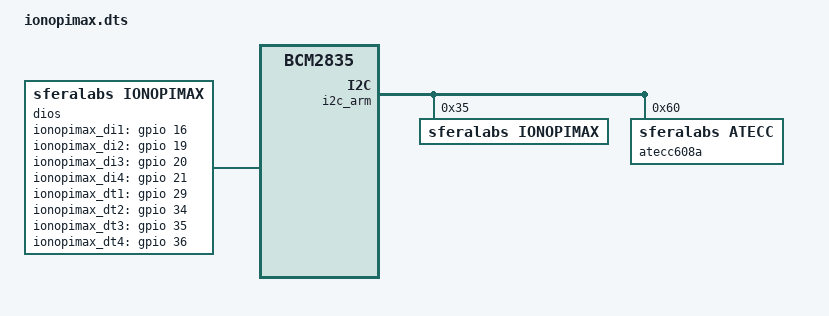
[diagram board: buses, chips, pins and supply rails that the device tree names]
/dts-v1/;
/plugin/;

/ {
	compatible = "brcm,bcm2835";
	
	fragment@0 {
		target-path = "/";
		__overlay__ {
			dios: dios {
				compatible = "sferalabs,ionopimax";
				pinctrl-names = "default";
				pinctrl-0 = <&dios_pins>;
				status = "okay";

				ionopimax_di1-gpios = <&gpio 16 0>;
				ionopimax_di2-gpios = <&gpio 19 0>;
				ionopimax_di3-gpios = <&gpio 20 0>;
				ionopimax_di4-gpios = <&gpio 21 0>;
				ionopimax_dt1-gpios = <&gpio 29 0>;
				ionopimax_dt2-gpios = <&gpio 34 0>;
				ionopimax_dt3-gpios = <&gpio 35 0>;
				ionopimax_dt4-gpios = <&gpio 36 0>;
				ionopimax_buzzer-gpios = <&gpio 40 0>;
				ionopimax_button-gpios = <&gpio 38 0>;
				ionopimax_wd_en-gpios = <&gpio 39 0>;
				ionopimax_wd_hb-gpios = <&gpio 32 0>;
				ionopimax_wd_ex-gpios = <&gpio 17 0>;
				ionopimax_pwr_dwn-gpios = <&gpio 18 0>;
				ionopimax_usb1_en-gpios = <&gpio 30 0>;
				ionopimax_usb1_err-gpios = <&gpio 0 0>;
				ionopimax_usb2_en-gpios = <&gpio 31 0>;
				ionopimax_usb2_err-gpios = <&gpio 1 0>;
				ionopimax_sw_en-gpios = <&gpio 41 0>;
				ionopimax_sw_rst-gpios = <&gpio 45 0>;
			};
		};
	};
	
	fragment@1 {
		target = <&gpio>;
		__overlay__ {
			dios_pins: dios_pins {
				brcm,pins = <16 19 20 21>;
				brcm,function = <0>; /* in */
				brcm,pull = <0>; /* no pull */
			};
		};
	};
	
	fragment@2 {
		target = <&i2c_arm>;
		__overlay__ {
			#address-cells = <1>;
			#size-cells = <0>;
			status = "okay";
			
			ionopimax: ionopimax@35 {
				compatible = "sferalabs,ionopimax";
				reg = <0x35>;
				status = "okay";
			};
			
			atecc608a: atecc608a@60 {
				compatible = "sferalabs,atecc";
				reg = <0x60>;
				status = "okay";
			};
		};
	};
};
